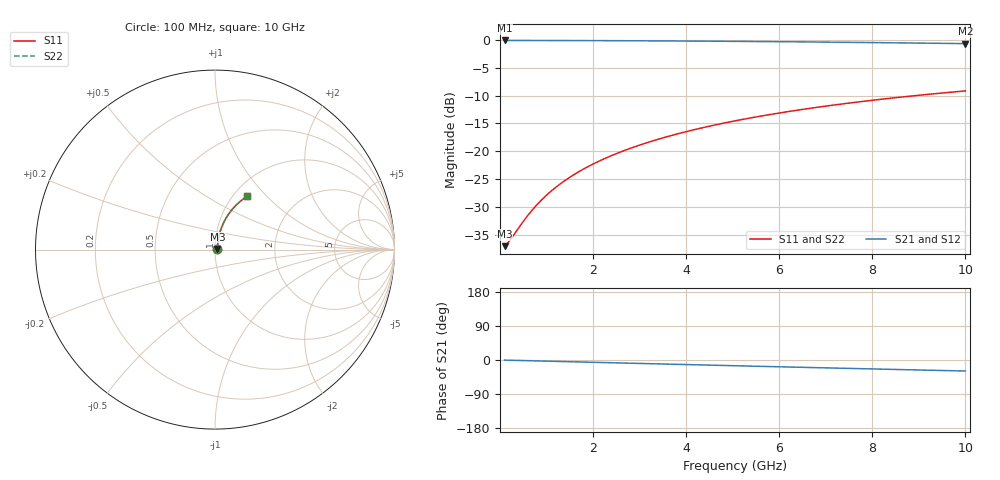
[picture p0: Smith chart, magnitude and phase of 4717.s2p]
# Hz S RI R 50.00
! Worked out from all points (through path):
!   100 points, 100 MHz to 10 GHz, reference 50 ohm
!   highest |S21| = -0.12 dB at 100 MHz (marker M1); lowest = -0.7 dB at 10 GHz (marker M2)
!   group delay of S21, straight-line fit = 8.09 ps
!   lowest |S11| = -37.0 dB at 100 MHz (marker M3), VSWR 1.03, Z = 51.4 + j0.382 ohm
!   |S11| at or under -10 dB: start of sweep to 8.951 GHz
!   |S22| runs from -37.0 to -9.2 dB; largest |S21 - S12| = 0
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1e8  0.0135 0.00371  0.9864 -0.00522  0.9864 -0.00522  0.0135 0.00371
2e8  0.0137 0.00742  0.9863 -0.0104  0.9863 -0.0104  0.0137 0.00742
5e8  0.0143 0.0185  0.9857 -0.0261  0.9857 -0.0261  0.0143 0.0185
6e8  0.0145 0.0222  0.9854 -0.0313  0.9854 -0.0313  0.0145 0.0222
7e8  0.0148 0.0259  0.9851 -0.0365  0.9851 -0.0365  0.0148 0.0259
9e8  0.0155 0.0333  0.9844 -0.0468  0.9844 -0.0468  0.0155 0.0333
1.1e9  0.0163 0.0407  0.9835 -0.0572  0.9835 -0.0572  0.0163 0.0407
1.3e9  0.0173 0.048  0.9825 -0.0676  0.9825 -0.0676  0.0173 0.048
1.5e9  0.0185 0.0553  0.9813 -0.0779  0.9813 -0.0779  0.0185 0.0553
1.8e9  0.0204 0.0662  0.9792 -0.0933  0.9792 -0.0933  0.0204 0.0662
2.1e9  0.0228 0.0771  0.9767 -0.1086  0.9767 -0.1086  0.0228 0.0771
2.5e9  0.0264 0.0913  0.9729 -0.1289  0.9729 -0.1289  0.0264 0.0913
2.9e9  0.0306 0.1054  0.9685 -0.149  0.9685 -0.149  0.0306 0.1054
3.4e9  0.0366 0.1227  0.9621 -0.1738  0.9621 -0.1738  0.0366 0.1227
3.8e9  0.042 0.1362  0.9563 -0.1934  0.9563 -0.1934  0.042 0.1362
4.2e9  0.048 0.1494  0.9499 -0.2127  0.9499 -0.2127  0.048 0.1494
5.1e9  0.0633 0.178  0.9337 -0.2549  0.9337 -0.2549  0.0633 0.178
5.9e9  0.0788 0.2019  0.9171 -0.2909  0.9171 -0.2909  0.0788 0.2019
6.7e9  0.0961 0.2242  0.8987 -0.3253  0.8987 -0.3253  0.0961 0.2242
7.5e9  0.1148 0.2447  0.8786 -0.358  0.8786 -0.358  0.1148 0.2447
8.4e9  0.1374 0.2657  0.8544 -0.3928  0.8544 -0.3928  0.1374 0.2657
1e10  0.1806 0.2971  0.8076 -0.4487  0.8076 -0.4487  0.1806 0.2971
